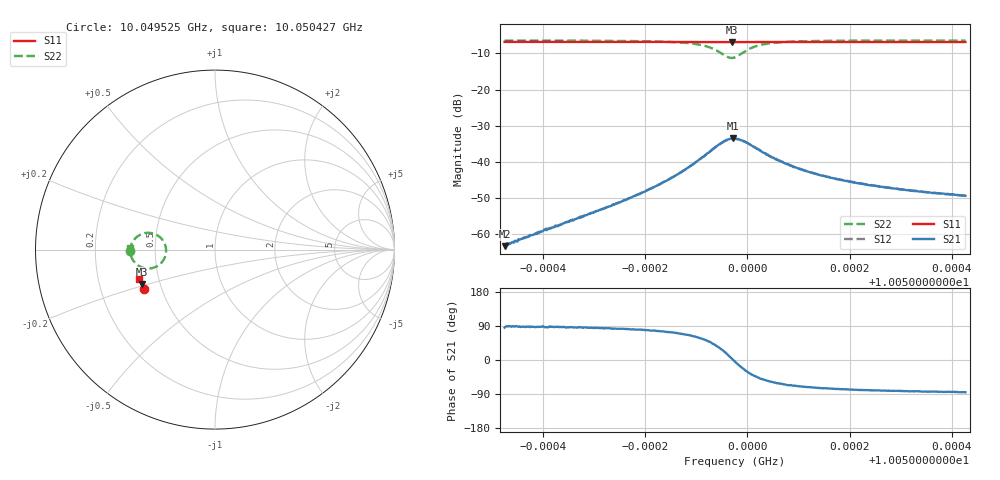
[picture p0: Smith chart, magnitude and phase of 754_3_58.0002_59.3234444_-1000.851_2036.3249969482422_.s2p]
#  HZ  S  RI  R  50.00
! Rohde & Schwarz Vector Network Analyzer
! Rohde-Schwarz,ZNB20-2Port,1311601062101988,3.16
! Created: UTC 3/21/2024, 1:24:08 AM
! freq[Hz]  re:S11  im:S11  re:S21  im:S21  re:S12  im:S12  re:S22  im:S22
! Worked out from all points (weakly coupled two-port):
!   401 points, 10.049525 GHz to 10.050427 GHz, reference 50 ohm
!   highest |S21| = -33.51 dB at 10.049971 GHz (marker M1); lowest = -63.2 dB at 10.049525 GHz (marker M2)
!   lowest |S11| = -6.9 dB at 10.049969 GHz (marker M3), VSWR 2.64, Z = 19.7 - j9.51 ohm
!   |S11| at or under -10 dB: nowhere
!   |S22| runs from -11.3 to -6.5 dB; largest |S21 - S12| = 0.0016
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1.00495248e10  -0.3974 -0.2187  5.53e-05 0.000688  -1.11e-05 0.000695  -0.4738 -0.0102
1.00496758e10  -0.4021 -0.2097  0.000126 0.00174  2.61e-05 0.00176  -0.4711 0.00971
1.00497502e10  -0.4041 -0.2052  0.000357 0.00277  0.000203 0.00278  -0.4675 0.0239
1.00498269e10  -0.4063 -0.2002  0.00115 0.00473  0.000908 0.00481  -0.4566 0.0466
1.0049872e10  -0.4072 -0.1974  0.00266 0.00688  0.00229 0.00702  -0.4387 0.0679
1.00499103e10  -0.4081 -0.1948  0.00631 0.00947  0.00572 0.00982  -0.3998 0.0897
1.00499284e10  -0.408 -0.1935  0.00977 0.0103  0.00933 0.0108  -0.3641 0.0933
1.00499442e10  -0.408 -0.1926  0.0146 0.00949  0.0138 0.0103  -0.3215 0.0801
1.00499577e10  -0.4079 -0.192  0.0189 0.0064  0.0182 0.00732  -0.2859 0.0441
1.0049969e10  -0.4077 -0.1919  0.021 0.00158  0.0206 0.00298  -0.2724 -0.00247
1.00499712e10  -0.4079 -0.1918  0.0211 0.000596  0.0209 0.00198  -0.2727 -0.0125
1.00499757e10  -0.4081 -0.1917  0.0209 -0.00153  0.0208 -0.000318  -0.2759 -0.0324
1.0049987e10  -0.4083 -0.1916  0.0191 -0.00621  0.0194 -0.00473  -0.2989 -0.0735
1.00499983e10  -0.4089 -0.1912  0.0161 -0.00918  0.0166 -0.00801  -0.3319 -0.0971
1.00500141e10  -0.4098 -0.1905  0.0118 -0.0107  0.0126 -0.00992  -0.3749 -0.1055
1.00500299e10  -0.4105 -0.1897  0.00861 -0.0105  0.00937 -0.0101  -0.4062 -0.0997
1.00500479e10  -0.4114 -0.1886  0.00619 -0.00976  0.0068 -0.00946  -0.4289 -0.088
1.00500862e10  -0.4125 -0.1861  0.00348 -0.00811  0.00392 -0.00801  -0.4531 -0.0645
1.00501268e10  -0.4137 -0.1836  0.00213 -0.00675  0.00254 -0.00662  -0.4636 -0.0467
1.0050199e10  -0.4157 -0.1791  0.00112 -0.00525  0.00149 -0.0052  -0.4708 -0.026
1.00502779e10  -0.4176 -0.1743  0.00069 -0.00434  0.000915 -0.00433  -0.4736 -0.0113
1.00504267e10  -0.4212 -0.165  0.000286 -0.0034  0.000518 -0.00341  -0.4749 0.00803
